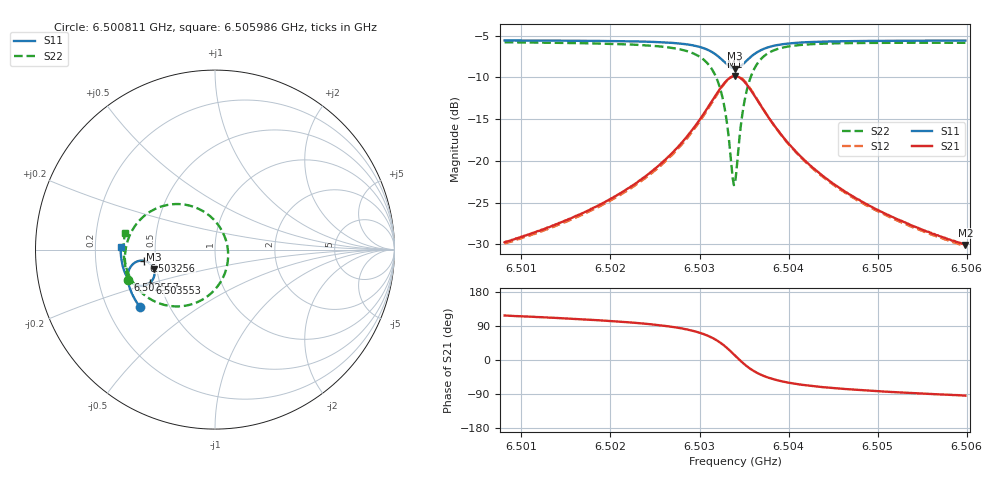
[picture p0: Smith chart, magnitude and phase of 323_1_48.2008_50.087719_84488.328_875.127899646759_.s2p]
#  HZ  S  RI  R  50.00
! Rohde & Schwarz Vector Network Analyzer
! Rohde-Schwarz,ZNB20-2Port,1311601062101988,3.16
! Created: UTC 3/20/2024, 11:50:33 AM
! freq[Hz]  re:S11  im:S11  re:S21  im:S21  re:S12  im:S12  re:S22  im:S22
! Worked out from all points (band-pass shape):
!   401 points, 6.500811 GHz to 6.505986 GHz, reference 50 ohm
!   highest |S21| = -9.84 dB at 6.503398 GHz (marker M1); lowest = -30.1 dB at 6.505986 GHz (marker M2)
!   |S21| within 3 dB of the highest: 6.503139 GHz to 6.503656 GHz (517.2 kHz wide, 0.00795 % of centre)
!   lowest |S11| = -8.9 dB at 6.503398 GHz (marker M3), VSWR 2.11, Z = 24.1 - j6.1 ohm
!   |S11| at or under -10 dB: nowhere
!   |S22| runs from -22.9 to -5.8 dB; largest |S21 - S12| = 0.011
!   S11 on the Smith chart (normalised r, x): 6.500811 GHz: 0.34, -0.30; 6.502557 GHz: 0.33, -0.15; 6.503256 GHz: 0.43, -0.06; 6.503553 GHz: 0.44, -0.20; 6.505986 GHz: 0.31, +0.01
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6.5008108e9  -0.4198 -0.3178  -0.0149 0.0289  -0.0133 0.0291  -0.4858 -0.1667
6.5016776e9  -0.458 -0.255  -0.0145 0.0462  -0.0122 0.0458  -0.5012 -0.0767
6.5021434e9  -0.475 -0.2146  -0.0119 0.0645  -0.00896 0.0636  -0.4997 -0.0128
6.5025444e9  -0.4852 -0.1716  -0.00318 0.094  0.000393 0.0918  -0.4813 0.0643
6.5025573e9  -0.4854 -0.1699  -0.00259 0.0954  0.000854 0.093  -0.4801 0.0673
6.502842e9  -0.4837 -0.1283  0.0204 0.1349  0.0241 0.1309  -0.4321 0.1498
6.503036e9  -0.4666 -0.091  0.0665 0.1755  0.0695 0.1697  -0.3427 0.2219
6.5031654e9  -0.4351 -0.0666  0.1352 0.1981  0.1363 0.1917  -0.2181 0.2538
6.5032559e9  -0.3973 -0.0617  0.2106 0.1881  0.2109 0.1828  -0.0877 0.2255
6.5033077e9  -0.3722 -0.0701  0.2583 0.1605  0.2591 0.1559  -0.00822 0.1688
6.5033724e9  -0.3459 -0.0961  0.3051 0.0978  0.3075 0.093  0.0622 0.0484
6.5033983e9  -0.3397 -0.1103  0.3151 0.0663  0.3182 0.0604  0.0727 -0.0105
6.5034112e9  -0.3379 -0.1179  0.3176 0.0499  0.3208 0.0434  0.0732 -0.0405
6.5034888e9  -0.3439 -0.1619  0.301 -0.0429  0.3027 -0.0527  0.016 -0.2025
6.5035535e9  -0.3648 -0.1871  0.2591 -0.0959  0.2577 -0.1069  -0.0783 -0.2831
6.503657e9  -0.4034 -0.2018  0.186 -0.1313  0.1807 -0.1405  -0.2249 -0.3163
6.5038252e9  -0.4488 -0.1919  0.1061 -0.1284  0.0994 -0.1334  -0.3685 -0.2708
6.5040063e9  -0.4758 -0.1705  0.0626 -0.1092  0.0567 -0.1113  -0.4391 -0.2072
6.504265e9  -0.4961 -0.1405  0.0333 -0.0854  0.0287 -0.086  -0.4816 -0.136
6.504679e9  -0.5125 -0.0983  0.0138 -0.0617  0.0108 -0.0613  -0.5043 -0.0576
6.5051318e9  -0.5211 -0.0569  0.00493 -0.0468  0.00271 -0.0461  -0.5097 0.00398
6.5059857e9  -0.5258 0.0149  -0.0022 -0.0313  -0.00332 -0.0307  -0.5013 0.0925
